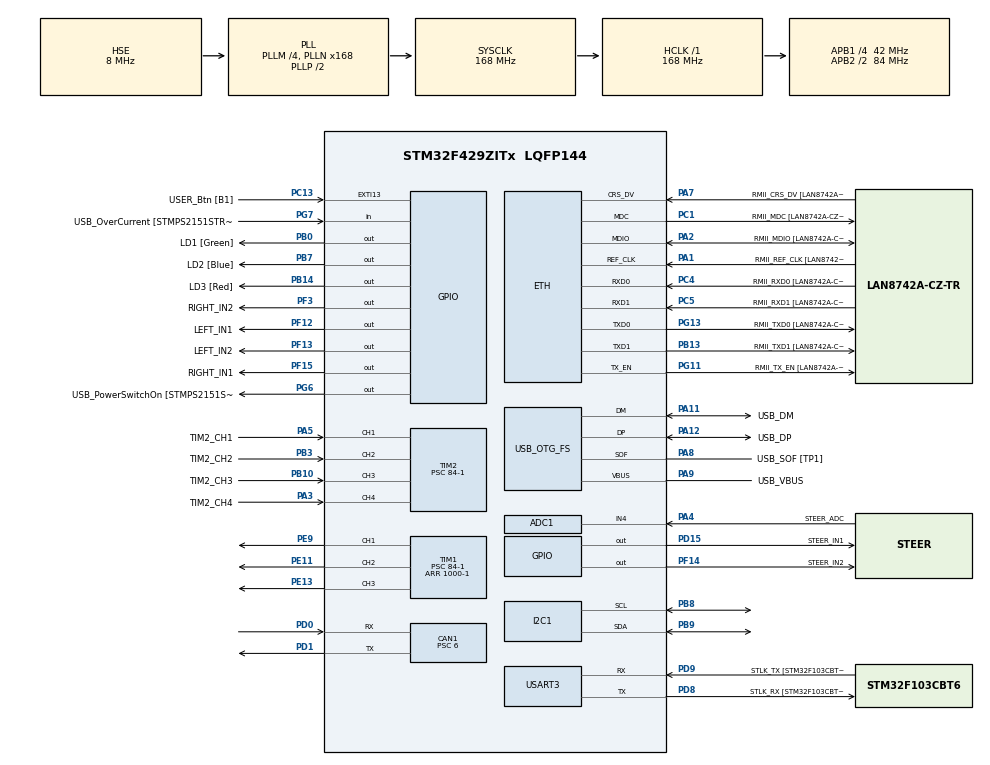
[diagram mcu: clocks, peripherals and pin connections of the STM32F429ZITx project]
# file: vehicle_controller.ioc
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ADC1.Channel-0\#ChannelRegularConversion=ADC_CHANNEL_4
ADC1.NbrOfConversionFlag=1
ADC1.Rank-0\#ChannelRegularConversion=1
ADC1.SamplingTime-0\#ChannelRegularConversion=ADC_SAMPLETIME_3CYCLES
ADC1.master=1
CAN1.BS1=CAN_BS1_11TQ
CAN1.BS2=CAN_BS2_2TQ
CAN1.CalculateBaudRate=500000
CAN1.CalculateTimeBit=2000
CAN1.CalculateTimeQuantum=142.85714285714286
CAN1.Prescaler=6
ETH.MediaInterface=HAL_ETH_RMII_MODE
ETH.PHY_Name=LAN8742A_PHY_ADDRESS
ETH.PHY_Value=0
ETH.PhyAddress=0
FREERTOS.INCLUDE_vTaskDelayUntil=1
FREERTOS.Tasks01=TaskGetRemote,0,128,EntryGetRemote,Default,NULL,Dynamic,NULL,NULL;TaskPrintResult,0,512,EntryPrintResult,Default,NULL,Dynamic,NULL,NULL;TaskGetSteerADC,0,128,EntryGetSteerADC,Default,NULL,Dynamic,NULL,NULL;TaskVehicleCont,0,128,EntryVehicleControl,Default,NULL,Dynamic,NULL,NULL;TaskCANTransmit,0,512,EntryCANTransmit,Default,NULL,Dynamic,NULL,NULL;TaskGetIMU,0,512,EntryGetIMU,Default,NULL,Dynamic,NULL,NULL
FREERTOS.configUSE_COUNTING_SEMAPHORES=1
Mcu.Family=STM32F4
Mcu.Name=STM32F429ZITx
Mcu.Package=LQFP144
NVIC.ADC_IRQn=true\:6\:0\:true\:false\:true\:true\:true\:true\:true
NVIC.CAN1_RX0_IRQn=true\:5\:0\:false\:false\:true\:true\:true\:true\:true
NVIC.I2C1_ER_IRQn=true\:5\:0\:false\:false\:true\:true\:true\:true\:true
NVIC.I2C1_EV_IRQn=true\:5\:0\:false\:false\:true\:true\:true\:true\:true
NVIC.PriorityGroup=NVIC_PRIORITYGROUP_4
NVIC.TIM2_IRQn=true\:5\:0\:false\:false\:true\:true\:true\:true\:true
PA1.GPIO_Label=RMII_REF_CLK [LAN8742A-CZ-TR_REFCLK0]
PA1.Mode=RMII
PA1.Signal=ETH_REF_CLK
PA10.GPIO_Label=USB_ID
PA10.Signal=USB_OTG_FS_ID
PA11.GPIO_Label=USB_DM
PA11.Mode=Device_Only
PA11.Signal=USB_OTG_FS_DM
PA12.GPIO_Label=USB_DP
PA12.Mode=Device_Only
PA12.Signal=USB_OTG_FS_DP
PA13.GPIO_Label=TMS
PA13.Mode=Serial_Wire
PA13.Signal=SYS_JTMS-SWDIO
PA14.GPIO_Label=TCK
PA14.Mode=Serial_Wire
PA14.Signal=SYS_JTCK-SWCLK
PA2.GPIO_Label=RMII_MDIO [LAN8742A-CZ-TR_MDIO]
PA2.Mode=RMII
PA2.Signal=ETH_MDIO
PA3.GPIO_Label=TIM2_CH4
PA3.Signal=S_TIM2_CH4
PA4.GPIO_Label=STEER_ADC
PA4.Signal=ADCx_IN4
PA5.GPIO_Label=TIM2_CH1
PA5.Signal=S_TIM2_CH1_ETR
PA7.GPIO_Label=RMII_CRS_DV [LAN8742A-CZ-TR_CRS_DV]
PA7.Mode=RMII
PA7.Signal=ETH_CRS_DV
PA8.GPIO_Label=USB_SOF [TP1]
PA8.Mode=Activate_SOF_FS
PA8.Signal=USB_OTG_FS_SOF
PA9.GPIO_Label=USB_VBUS
PA9.Mode=Activate_VBUS
PA9.Signal=USB_OTG_FS_VBUS
PB0.GPIO_Label=LD1 [Green]
PB0.Signal=GPIO_Output
PB10.GPIO_Label=TIM2_CH3
PB10.Signal=S_TIM2_CH3
PB13.GPIO_Label=RMII_TXD1 [LAN8742A-CZ-TR_TXD1]
PB13.Mode=RMII
PB13.Signal=ETH_TXD1
PB14.GPIO_Label=LD3 [Red]
PB14.Signal=GPIO_Output
PB3.GPIO_Label=TIM2_CH2
PB3.Signal=S_TIM2_CH2
PB7.GPIO_Label=LD2 [Blue]
PB7.Signal=GPIO_Output
PB8.Mode=I2C
PB8.Signal=I2C1_SCL
PB9.Mode=I2C
PB9.Signal=I2C1_SDA
PC1.GPIO_Label=RMII_MDC [LAN8742A-CZ-TR_MDC]
PC1.Mode=RMII
PC1.Signal=ETH_MDC
PC13.GPIO_Label=USER_Btn [B1]
PC13.Signal=GPXTI13
PC14/OSC32_IN.Mode=LSE-External-Oscillator
PC14/OSC32_IN.Signal=RCC_OSC32_IN
PC15/OSC32_OUT.Mode=LSE-External-Oscillator
PC15/OSC32_OUT.Signal=RCC_OSC32_OUT
PC4.GPIO_Label=RMII_RXD0 [LAN8742A-CZ-TR_RXD0]
PC4.Mode=RMII
PC4.Signal=ETH_RXD0
PC5.GPIO_Label=RMII_RXD1 [LAN8742A-CZ-TR_RXD1]
PC5.Mode=RMII
PC5.Signal=ETH_RXD1
PD0.Mode=CAN_Activate
PD0.Signal=CAN1_RX
PD1.Mode=CAN_Activate
PD1.Signal=CAN1_TX
PD15.GPIO_Label=STEER_IN1
PD15.Signal=GPIO_Output
PD8.GPIO_Label=STLK_RX [STM32F103CBT6_PA3]
PD8.Mode=Asynchronous
PD8.Signal=USART3_TX
PD9.GPIO_Label=STLK_TX [STM32F103CBT6_PA2]
PD9.Mode=Asynchronous
PD9.Signal=USART3_RX
PE11.Signal=S_TIM1_CH2
PE13.Signal=S_TIM1_CH3
PE9.Signal=S_TIM1_CH1
PF12.GPIO_Label=LEFT_IN1
PF12.Signal=GPIO_Output
PF13.GPIO_Label=LEFT_IN2
PF13.Signal=GPIO_Output
PF14.GPIO_Label=STEER_IN2
PF14.Signal=GPIO_Output
PF15.GPIO_Label=RIGHT_IN1
PF15.Signal=GPIO_Output
PF3.GPIO_Label=RIGHT_IN2
PF3.Signal=GPIO_Output
PG11.GPIO_Label=RMII_TX_EN [LAN8742A-CZ-TR_TXEN]
PG11.Mode=RMII
PG11.Signal=ETH_TX_EN
PG13.GPIO_Label=RMII_TXD0 [LAN8742A-CZ-TR_TXD0]
PG13.Mode=RMII
PG13.Signal=ETH_TXD0
PG6.GPIO_Label=USB_PowerSwitchOn [STMPS2151STR_EN]
PG6.Signal=GPIO_Output
PG7.GPIO_Label=USB_OverCurrent [STMPS2151STR_FAULT]
PG7.Signal=GPIO_Input
PH0/OSC_IN.GPIO_Label=MCO [STM32F103CBT6_PA8]
PH0/OSC_IN.Mode=HSE-External-Clock-Source
PH0/OSC_IN.Signal=RCC_OSC_IN
PH1/OSC_OUT.Mode=HSE-External-Clock-Source
PH1/OSC_OUT.Signal=RCC_OSC_OUT
ProjectManager.HeapSize=0x200
ProjectManager.StackSize=0x400
ProjectManager.TargetToolchain=STM32CubeIDE
RCC.48MHZClocksFreq_Value=48000000
RCC.AHBFreq_Value=168000000
RCC.APB1CLKDivider=RCC_HCLK_DIV4
RCC.APB1Freq_Value=42000000
RCC.APB1TimFreq_Value=84000000
RCC.APB2CLKDivider=RCC_HCLK_DIV2
RCC.APB2Freq_Value=84000000
RCC.APB2TimCLKDivider=2
RCC.APB2TimFreq_Value=168000000
RCC.CortexFreq_Value=168000000
RCC.HCLKFreq_Value=168000000
RCC.HSE_VALUE=8000000
RCC.HSI_VALUE=16000000
RCC.PLLM=4
RCC.PLLMUL=RCC_PLL_MUL9
RCC.PLLN=168
RCC.PLLQ=7
RCC.PRESCALERUSB=RCC_USBCLKSOURCE_PLL_DIV1_5
RCC.SYSCLKFreq_VALUE=168000000
RCC.SYSCLKSource=RCC_SYSCLKSOURCE_PLLCLK
RCC.SYSCLKSourceVirtual=RCC_SYSCLKSOURCE_PLLCLK
RCC.USBFreq_Value=48000000
RCC.VCOOutputFreq_Value=336000000
SH.ADCx_IN4.0=ADC1_IN4,IN4
SH.S_TIM1_CH1.0=TIM1_CH1,PWM Generation1 CH1
SH.S_TIM1_CH2.0=TIM1_CH2,PWM Generation2 CH2
SH.S_TIM1_CH3.0=TIM1_CH3,PWM Generation3 CH3
SH.S_TIM2_CH1_ETR.0=TIM2_CH1,Input_Capture1_from_TI1
SH.S_TIM2_CH2.0=TIM2_CH2,Input_Capture2_from_TI2
SH.S_TIM2_CH3.0=TIM2_CH3,Input_Capture3_from_TI3
SH.S_TIM2_CH4.0=TIM2_CH4,Input_Capture4_from_TI4
TIM1.Channel-PWM\ Generation1\ CH1=TIM_CHANNEL_1
TIM1.Channel-PWM\ Generation2\ CH2=TIM_CHANNEL_2
TIM1.Channel-PWM\ Generation3\ CH3=TIM_CHANNEL_3
TIM1.Period=1000-1
TIM1.Prescaler=84-1
TIM2.Channel-Input_Capture1_from_TI1=TIM_CHANNEL_1
TIM2.Channel-Input_Capture2_from_TI2=TIM_CHANNEL_2
TIM2.Channel-Input_Capture3_from_TI3=TIM_CHANNEL_3
TIM2.Channel-Input_Capture4_from_TI4=TIM_CHANNEL_4
TIM2.ICPolarity_CH1=TIM_INPUTCHANNELPOLARITY_BOTHEDGE
TIM2.ICPolarity_CH2=TIM_INPUTCHANNELPOLARITY_BOTHEDGE
TIM2.ICPolarity_CH3=TIM_INPUTCHANNELPOLARITY_BOTHEDGE
TIM2.ICPolarity_CH4=TIM_INPUTCHANNELPOLARITY_BOTHEDGE
TIM2.Prescaler=84-1
USART3.VirtualMode=VM_ASYNC
USB_OTG_FS.VirtualMode=Device_Only
VP_FREERTOS_VS_CMSIS_V1.Mode=CMSIS_V1
VP_TIM1_VS_ClockSourceINT.Mode=Internal
VP_TIM2_VS_ClockSourceINT.Mode=Internal
board=NUCLEO-F429ZI

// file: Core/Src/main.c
/* USER CODE BEGIN Header */
/**
  ******************************************************************************
  * @file           : main.c
  * @brief          : Main program body
  ******************************************************************************
  * @attention
  *
  * Copyright (c) 2025 STMicroelectronics.
  * All rights reserved.
  *
  * This software is licensed under terms that can be found in the LICENSE file
  * in the root directory of this software component.
  * If no LICENSE file comes with this software, it is provided AS-IS.
  *
  ******************************************************************************
  */
/* USER CODE END Header */
#include "main.h"
#include "string.h"
#include "cmsis_os.h"

/* USER CODE BEGIN Includes */
#include "struct_shared_memory.h"
#include "remote_signal_processing.h"
#include "steer_adc_processing.h"
#include "vehicle_control.h"
#include "CAN_DB_Interface.h"
#include "myahrs_i2c.h"
/* USER CODE END Includes */

ETH_TxPacketConfig TxConfig;
ETH_DMADescTypeDef  DMARxDscrTab[ETH_RX_DESC_CNT]; /* Ethernet Rx DMA Descriptors */
ETH_DMADescTypeDef  DMATxDscrTab[ETH_TX_DESC_CNT]; /* Ethernet Tx DMA Descriptors */

ADC_HandleTypeDef hadc1;

CAN_HandleTypeDef hcan1;

ETH_HandleTypeDef heth;

I2C_HandleTypeDef hi2c1;

TIM_HandleTypeDef htim1;
TIM_HandleTypeDef htim2;

UART_HandleTypeDef huart3;

PCD_HandleTypeDef hpcd_USB_OTG_FS;

osThreadId TaskGetRemoteHandle;
osThreadId TaskPrintResultHandle;
osThreadId TaskGetSteerADCHandle;
osThreadId TaskVehicleContHandle;
osThreadId TaskCANTransmitHandle;
osThreadId TaskGetIMUHandle;
/* USER CODE BEGIN PV */
osMutexId vehicleDataMutexHandle;
EventGroupHandle_t eventGroupHandle; // FreeRTOS Event Group

// Shared Memory
SharedMemory_t vehicle_data_shm_;

/* USER CODE END PV */

void SystemClock_Config(void);
static void MX_GPIO_Init(void);
static void MX_ETH_Init(void);
static void MX_USART3_UART_Init(void);
static void MX_USB_OTG_FS_PCD_Init(void);
static void MX_TIM2_Init(void);
static void MX_TIM1_Init(void);
static void MX_ADC1_Init(void);
static void MX_CAN1_Init(void);
static void MX_I2C1_Init(void);
void EntryGetRemote(void const * argument);
void EntryPrintResult(void const * argument);
void EntryGetSteerADC(void const * argument);
void EntryVehicleControl(void const * argument);
void EntryCANTransmit(void const * argument);
void EntryGetIMU(void const * argument);

/* USER CODE BEGIN PFP */
void I2C_Bus_Recovery();
void CAN_Transmit_Safe(CAN_HandleTypeDef *hcan, CAN_TxHeaderTypeDef *pHeader,
                       uint8_t aData[], uint32_t *pTxMailbox);

/* USER CODE END PFP */

int main(void)
{

  /* MCU Configuration--------------------------------------------------------*/

  /* Reset of all peripherals, Initializes the Flash interface and the Systick. */
  HAL_Init();

  /* Configure the system clock */
  SystemClock_Config();

  /* USER CODE BEGIN SysInit */
  I2C_Bus_Recovery();
  /* USER CODE END SysInit */

  /* Initialize all configured peripherals */
  MX_GPIO_Init();
  MX_ETH_Init();
  MX_USART3_UART_Init();
  MX_USB_OTG_FS_PCD_Init();
  MX_TIM2_Init();
  MX_TIM1_Init();
  MX_ADC1_Init();
  MX_CAN1_Init();
  MX_I2C1_Init();

  /* USER CODE BEGIN RTOS_MUTEX */
  /* add mutexes, ... */
  osMutexDef(vehicleDataMutex);
  vehicleDataMutexHandle = osMutexCreate(osMutex(vehicleDataMutex));
  /* USER CODE END RTOS_MUTEX */

  /* USER CODE BEGIN RTOS_SEMAPHORES */
  /* add semaphores, ... */

  // from remote_signal_processing.h
  osSemaphoreDef(remoteSigSem);
  remote_sig_sem_handle_ = osSemaphoreCreate(osSemaphore(remoteSigSem), 1);

  // from steer_adc_processing.h
  osSemaphoreDef(steerAdcSem);
  steer_adc_sem_handle_ = osSemaphoreCreate(osSemaphore(steerAdcSem), 1);

  // from myahrs_i2c.h
  osSemaphoreDef(imuDataSem);
  imu_data_sem_handle_ = osSemaphoreCreate(osSemaphore(imuDataSem), 1);

  // Create Event Group
  eventGroupHandle = xEventGroupCreate();

  /* USER CODE END RTOS_SEMAPHORES */

  /* Create the thread(s) */
  /* definition and creation of TaskGetRemote */
  osThreadDef(TaskGetRemote, EntryGetRemote, osPriorityNormal, 0, 128);
  TaskGetRemoteHandle = osThreadCreate(osThread(TaskGetRemote), NULL);

  /* definition and creation of TaskPrintResult */
  osThreadDef(TaskPrintResult, EntryPrintResult, osPriorityNormal, 0, 512);
  TaskPrintResultHandle = osThreadCreate(osThread(TaskPrintResult), NULL);

  /* definition and creation of TaskGetSteerADC */
  osThreadDef(TaskGetSteerADC, EntryGetSteerADC, osPriorityNormal, 0, 128);
  TaskGetSteerADCHandle = osThreadCreate(osThread(TaskGetSteerADC), NULL);

  /* definition and creation of TaskVehicleCont */
  osThreadDef(TaskVehicleCont, EntryVehicleControl, osPriorityNormal, 0, 128);
  TaskVehicleContHandle = osThreadCreate(osThread(TaskVehicleCont), NULL);

  /* definition and creation of TaskCANTransmit */
  osThreadDef(TaskCANTransmit, EntryCANTransmit, osPriorityNormal, 0, 512);
  TaskCANTransmitHandle = osThreadCreate(osThread(TaskCANTransmit), NULL);

  /* definition and creation of TaskGetIMU */
  osThreadDef(TaskGetIMU, EntryGetIMU, osPriorityNormal, 0, 512);
  TaskGetIMUHandle = osThreadCreate(osThread(TaskGetIMU), NULL);

  /* Start scheduler */
  osKernelStart();

  /* We should never get here as control is now taken by the scheduler */

  /* Infinite loop */
  while (1)
  {

  }
}

void SystemClock_Config(void)
{
  RCC_OscInitTypeDef RCC_OscInitStruct = {0};
  RCC_ClkInitTypeDef RCC_ClkInitStruct = {0};

  /** Configure the main internal regulator output voltage
  */
  __HAL_RCC_PWR_CLK_ENABLE();
  __HAL_PWR_VOLTAGESCALING_CONFIG(PWR_REGULATOR_VOLTAGE_SCALE1);

  /** Initializes the RCC Oscillators according to the specified parameters
  * in the RCC_OscInitTypeDef structure.
  */
  RCC_OscInitStruct.OscillatorType = RCC_OSCILLATORTYPE_HSE;
  RCC_OscInitStruct.HSEState = RCC_HSE_BYPASS;
  RCC_OscInitStruct.PLL.PLLState = RCC_PLL_ON;
  RCC_OscInitStruct.PLL.PLLSource = RCC_PLLSOURCE_HSE;
  RCC_OscInitStruct.PLL.PLLM = 4;
  RCC_OscInitStruct.PLL.PLLN = 168;
  RCC_OscInitStruct.PLL.PLLP = RCC_PLLP_DIV2;
  RCC_OscInitStruct.PLL.PLLQ = 7;
  if (HAL_RCC_OscConfig(&RCC_OscInitStruct) != HAL_OK)
  {
    Error_Handler();
  }

  /** Initializes the CPU, AHB and APB buses clocks
  */
  RCC_ClkInitStruct.ClockType = RCC_CLOCKTYPE_HCLK|RCC_CLOCKTYPE_SYSCLK
                              |RCC_CLOCKTYPE_PCLK1|RCC_CLOCKTYPE_PCLK2;
  RCC_ClkInitStruct.SYSCLKSource = RCC_SYSCLKSOURCE_PLLCLK;
  RCC_ClkInitStruct.AHBCLKDivider = RCC_SYSCLK_DIV1;
  RCC_ClkInitStruct.APB1CLKDivider = RCC_HCLK_DIV4;
  RCC_ClkInitStruct.APB2CLKDivider = RCC_HCLK_DIV2;

  if (HAL_RCC_ClockConfig(&RCC_ClkInitStruct, FLASH_LATENCY_5) != HAL_OK)
  {
    Error_Handler();
  }
}

static void MX_ADC1_Init(void)
{

  ADC_ChannelConfTypeDef sConfig = {0};

  /** Configure the global features of the ADC (Clock, Resolution, Data Alignment and number of conversion)
  */
  hadc1.Instance = ADC1;
  hadc1.Init.ClockPrescaler = ADC_CLOCK_SYNC_PCLK_DIV4;
  hadc1.Init.Resolution = ADC_RESOLUTION_12B;
  hadc1.Init.ScanConvMode = DISABLE;
  hadc1.Init.ContinuousConvMode = DISABLE;
  hadc1.Init.DiscontinuousConvMode = DISABLE;
  hadc1.Init.ExternalTrigConvEdge = ADC_EXTERNALTRIGCONVEDGE_NONE;
  hadc1.Init.ExternalTrigConv = ADC_SOFTWARE_START;
  hadc1.Init.DataAlign = ADC_DATAALIGN_RIGHT;
  hadc1.Init.NbrOfConversion = 1;
  hadc1.Init.DMAContinuousRequests = DISABLE;
  hadc1.Init.EOCSelection = ADC_EOC_SINGLE_CONV;
  if (HAL_ADC_Init(&hadc1) != HAL_OK)
  {
    Error_Handler();
  }

  /** Configure for the selected ADC regular channel its corresponding rank in the sequencer and its sample time.
  */
  sConfig.Channel = ADC_CHANNEL_4;
  sConfig.Rank = 1;
  sConfig.SamplingTime = ADC_SAMPLETIME_3CYCLES;
  if (HAL_ADC_ConfigChannel(&hadc1, &sConfig) != HAL_OK)
  {
    Error_Handler();
  }

}

static void MX_CAN1_Init(void)
{

  hcan1.Instance = CAN1;
  hcan1.Init.Prescaler = 6;
  hcan1.Init.Mode = CAN_MODE_NORMAL;
  hcan1.Init.SyncJumpWidth = CAN_SJW_1TQ;
  hcan1.Init.TimeSeg1 = CAN_BS1_11TQ;
  hcan1.Init.TimeSeg2 = CAN_BS2_2TQ;
  hcan1.Init.TimeTriggeredMode = DISABLE;
  hcan1.Init.AutoBusOff = DISABLE;
  hcan1.Init.AutoWakeUp = DISABLE;
  hcan1.Init.AutoRetransmission = DISABLE;
  hcan1.Init.ReceiveFifoLocked = DISABLE;
  hcan1.Init.TransmitFifoPriority = DISABLE;
  if (HAL_CAN_Init(&hcan1) != HAL_OK)
  {
    Error_Handler();
  }

}

static void MX_ETH_Init(void)
{

   static uint8_t MACAddr[6];

  heth.Instance = ETH;
  MACAddr[0] = 0x00;
  MACAddr[1] = 0x80;
  MACAddr[2] = 0xE1;
  MACAddr[3] = 0x00;
  MACAddr[4] = 0x00;
  MACAddr[5] = 0x00;
  heth.Init.MACAddr = &MACAddr[0];
  heth.Init.MediaInterface = HAL_ETH_RMII_MODE;
  heth.Init.TxDesc = DMATxDscrTab;
  heth.Init.RxDesc = DMARxDscrTab;
  heth.Init.RxBuffLen = 1524;

  if (HAL_ETH_Init(&heth) != HAL_OK)
  {
    Error_Handler();
  }

  memset(&TxConfig, 0 , sizeof(ETH_TxPacketConfig));
  TxConfig.Attributes = ETH_TX_PACKETS_FEATURES_CSUM | ETH_TX_PACKETS_FEATURES_CRCPAD;
  TxConfig.ChecksumCtrl = ETH_CHECKSUM_IPHDR_PAYLOAD_INSERT_PHDR_CALC;
  TxConfig.CRCPadCtrl = ETH_CRC_PAD_INSERT;

}

static void MX_I2C1_Init(void)
{

  hi2c1.Instance = I2C1;
  hi2c1.Init.ClockSpeed = 100000;
  hi2c1.Init.DutyCycle = I2C_DUTYCYCLE_2;
  hi2c1.Init.OwnAddress1 = 0;
  hi2c1.Init.AddressingMode = I2C_ADDRESSINGMODE_7BIT;
  hi2c1.Init.DualAddressMode = I2C_DUALADDRESS_DISABLE;
  hi2c1.Init.OwnAddress2 = 0;
  hi2c1.Init.GeneralCallMode = I2C_GENERALCALL_DISABLE;
  hi2c1.Init.NoStretchMode = I2C_NOSTRETCH_DISABLE;
  if (HAL_I2C_Init(&hi2c1) != HAL_OK)
  {
    Error_Handler();
  }

  /** Configure Analogue filter
  */
  if (HAL_I2CEx_ConfigAnalogFilter(&hi2c1, I2C_ANALOGFILTER_ENABLE) != HAL_OK)
  {
    Error_Handler();
  }

  /** Configure Digital filter
  */
  if (HAL_I2CEx_ConfigDigitalFilter(&hi2c1, 0) != HAL_OK)
  {
    Error_Handler();
  }

}

static void MX_TIM1_Init(void)
{

  TIM_ClockConfigTypeDef sClockSourceConfig = {0};
  TIM_MasterConfigTypeDef sMasterConfig = {0};
  TIM_OC_InitTypeDef sConfigOC = {0};
  TIM_BreakDeadTimeConfigTypeDef sBreakDeadTimeConfig = {0};

  htim1.Instance = TIM1;
  htim1.Init.Prescaler = 84-1;
  htim1.Init.CounterMode = TIM_COUNTERMODE_UP;
  htim1.Init.Period = 1000-1;
  htim1.Init.ClockDivision = TIM_CLOCKDIVISION_DIV1;
  htim1.Init.RepetitionCounter = 0;
  htim1.Init.AutoReloadPreload = TIM_AUTORELOAD_PRELOAD_DISABLE;
  if (HAL_TIM_Base_Init(&htim1) != HAL_OK)
  {
    Error_Handler();
  }
  sClockSourceConfig.ClockSource = TIM_CLOCKSOURCE_INTERNAL;
  if (HAL_TIM_ConfigClockSource(&htim1, &sClockSourceConfig) != HAL_OK)
  {
    Error_Handler();
  }
  if (HAL_TIM_PWM_Init(&htim1) != HAL_OK)
  {
    Error_Handler();
  }
  sMasterConfig.MasterOutputTrigger = TIM_TRGO_RESET;
  sMasterConfig.MasterSlaveMode = TIM_MASTERSLAVEMODE_DISABLE;
  if (HAL_TIMEx_MasterConfigSynchronization(&htim1, &sMasterConfig) != HAL_OK)
  {
    Error_Handler();
  }
  sConfigOC.OCMode = TIM_OCMODE_PWM1;
  sConfigOC.Pulse = 0;
  sConfigOC.OCPolarity = TIM_OCPOLARITY_HIGH;
  sConfigOC.OCNPolarity = TIM_OCNPOLARITY_HIGH;
  sConfigOC.OCFastMode = TIM_OCFAST_DISABLE;
  sConfigOC.OCIdleState = TIM_OCIDLESTATE_RESET;
  sConfigOC.OCNIdleState = TIM_OCNIDLESTATE_RESET;
  if (HAL_TIM_PWM_ConfigChannel(&htim1, &sConfigOC, TIM_CHANNEL_1) != HAL_OK)
  {
    Error_Handler();
  }
  if (HAL_TIM_PWM_ConfigChannel(&htim1, &sConfigOC, TIM_CHANNEL_2) != HAL_OK)
  {
    Error_Handler();
  }
  if (HAL_TIM_PWM_ConfigChannel(&htim1, &sConfigOC, TIM_CHANNEL_3) != HAL_OK)
  {
    Error_Handler();
  }
  sBreakDeadTimeConfig.OffStateRunMode = TIM_OSSR_DISABLE;
  sBreakDeadTimeConfig.OffStateIDLEMode = TIM_OSSI_DISABLE;
  sBreakDeadTimeConfig.LockLevel = TIM_LOCKLEVEL_OFF;
  sBreakDeadTimeConfig.DeadTime = 0;
  sBreakDeadTimeConfig.BreakState = TIM_BREAK_DISABLE;
  sBreakDeadTimeConfig.BreakPolarity = TIM_BREAKPOLARITY_HIGH;
  sBreakDeadTimeConfig.AutomaticOutput = TIM_AUTOMATICOUTPUT_DISABLE;
  if (HAL_TIMEx_ConfigBreakDeadTime(&htim1, &sBreakDeadTimeConfig) != HAL_OK)
  {
    Error_Handler();
  }
  HAL_TIM_MspPostInit(&htim1);

}

static void MX_TIM2_Init(void)
{

  TIM_ClockConfigTypeDef sClockSourceConfig = {0};
  TIM_MasterConfigTypeDef sMasterConfig = {0};
  TIM_IC_InitTypeDef sConfigIC = {0};

  htim2.Instance = TIM2;
  htim2.Init.Prescaler = 84-1;
  htim2.Init.CounterMode = TIM_COUNTERMODE_UP;
  htim2.Init.Period = 4294967295;
  htim2.Init.ClockDivision = TIM_CLOCKDIVISION_DIV1;
  htim2.Init.AutoReloadPreload = TIM_AUTORELOAD_PRELOAD_DISABLE;
  if (HAL_TIM_Base_Init(&htim2) != HAL_OK)
  {
    Error_Handler();
  }
  sClockSourceConfig.ClockSource = TIM_CLOCKSOURCE_INTERNAL;
  if (HAL_TIM_ConfigClockSource(&htim2, &sClockSourceConfig) != HAL_OK)
  {
    Error_Handler();
  }
  if (HAL_TIM_IC_Init(&htim2) != HAL_OK)
  {
    Error_Handler();
  }
  sMasterConfig.MasterOutputTrigger = TIM_TRGO_RESET;
  sMasterConfig.MasterSlaveMode = TIM_MASTERSLAVEMODE_DISABLE;
  if (HAL_TIMEx_MasterConfigSynchronization(&htim2, &sMasterConfig) != HAL_OK)
  {
    Error_Handler();
  }
  sConfigIC.ICPolarity = TIM_INPUTCHANNELPOLARITY_BOTHEDGE;
  sConfigIC.ICSelection = TIM_ICSELECTION_DIRECTTI;
  sConfigIC.ICPrescaler = TIM_ICPSC_DIV1;
  sConfigIC.ICFilter = 0;
  if (HAL_TIM_IC_ConfigChannel(&htim2, &sConfigIC, TIM_CHANNEL_1) != HAL_OK)
  {
    Error_Handler();
  }
  if (HAL_TIM_IC_ConfigChannel(&htim2, &sConfigIC, TIM_CHANNEL_2) != HAL_OK)
  {
    Error_Handler();
  }
  if (HAL_TIM_IC_ConfigChannel(&htim2, &sConfigIC, TIM_CHANNEL_3) != HAL_OK)
  {
    Error_Handler();
  }
  if (HAL_TIM_IC_ConfigChannel(&htim2, &sConfigIC, TIM_CHANNEL_4) != HAL_OK)
  {
    Error_Handler();
  }

}

static void MX_USART3_UART_Init(void)
{

  huart3.Instance = USART3;
  huart3.Init.BaudRate = 115200;
  huart3.Init.WordLength = UART_WORDLENGTH_8B;
  huart3.Init.StopBits = UART_STOPBITS_1;
  huart3.Init.Parity = UART_PARITY_NONE;
  huart3.Init.Mode = UART_MODE_TX_RX;
  huart3.Init.HwFlowCtl = UART_HWCONTROL_NONE;
  huart3.Init.OverSampling = UART_OVERSAMPLING_16;
  if (HAL_UART_Init(&huart3) != HAL_OK)
  {
    Error_Handler();
  }

}

static void MX_USB_OTG_FS_PCD_Init(void)
{

  hpcd_USB_OTG_FS.Instance = USB_OTG_FS;
  hpcd_USB_OTG_FS.Init.dev_endpoints = 4;
  hpcd_USB_OTG_FS.Init.speed = PCD_SPEED_FULL;
  hpcd_USB_OTG_FS.Init.dma_enable = DISABLE;
  hpcd_USB_OTG_FS.Init.phy_itface = PCD_PHY_EMBEDDED;
  hpcd_USB_OTG_FS.Init.Sof_enable = ENABLE;
  hpcd_USB_OTG_FS.Init.low_power_enable = DISABLE;
  hpcd_USB_OTG_FS.Init.lpm_enable = DISABLE;
  hpcd_USB_OTG_FS.Init.vbus_sensing_enable = ENABLE;
  hpcd_USB_OTG_FS.Init.use_dedicated_ep1 = DISABLE;
  if (HAL_PCD_Init(&hpcd_USB_OTG_FS) != HAL_OK)
  {
    Error_Handler();
  }

}

static void MX_GPIO_Init(void)
{
  GPIO_InitTypeDef GPIO_InitStruct = {0};

  /* GPIO Ports Clock Enable */
  __HAL_RCC_GPIOC_CLK_ENABLE();
  __HAL_RCC_GPIOF_CLK_ENABLE();
  __HAL_RCC_GPIOH_CLK_ENABLE();
  __HAL_RCC_GPIOA_CLK_ENABLE();
  __HAL_RCC_GPIOB_CLK_ENABLE();
  __HAL_RCC_GPIOE_CLK_ENABLE();
  __HAL_RCC_GPIOD_CLK_ENABLE();
  __HAL_RCC_GPIOG_CLK_ENABLE();

  /*Configure GPIO pin Output Level */
  HAL_GPIO_WritePin(GPIOF, RIGHT_IN2_Pin|LEFT_IN1_Pin|LEFT_IN2_Pin|STEER_IN2_Pin
                          |RIGHT_IN1_Pin, GPIO_PIN_RESET);

  /*Configure GPIO pin Output Level */
  HAL_GPIO_WritePin(GPIOB, LD1_Pin|LD3_Pin|LD2_Pin, GPIO_PIN_RESET);

  /*Configure GPIO pin Output Level */
  HAL_GPIO_WritePin(STEER_IN1_GPIO_Port, STEER_IN1_Pin, GPIO_PIN_RESET);

  /*Configure GPIO pin Output Level */
  HAL_GPIO_WritePin(USB_PowerSwitchOn_GPIO_Port, USB_PowerSwitchOn_Pin, GPIO_PIN_RESET);

  /*Configure GPIO pin : USER_Btn_Pin */
  GPIO_InitStruct.Pin = USER_Btn_Pin;
  GPIO_InitStruct.Mode = GPIO_MODE_IT_RISING;
  GPIO_InitStruct.Pull = GPIO_NOPULL;
  HAL_GPIO_Init(USER_Btn_GPIO_Port, &GPIO_InitStruct);

  /*Configure GPIO pins : RIGHT_IN2_Pin LEFT_IN1_Pin LEFT_IN2_Pin STEER_IN2_Pin
                           RIGHT_IN1_Pin */
  GPIO_InitStruct.Pin = RIGHT_IN2_Pin|LEFT_IN1_Pin|LEFT_IN2_Pin|STEER_IN2_Pin
                          |RIGHT_IN1_Pin;
  GPIO_InitStruct.Mode = GPIO_MODE_OUTPUT_PP;
  GPIO_InitStruct.Pull = GPIO_NOPULL;
  GPIO_InitStruct.Speed = GPIO_SPEED_FREQ_LOW;
  HAL_GPIO_Init(GPIOF, &GPIO_InitStruct);

  /*Configure GPIO pins : LD1_Pin LD3_Pin LD2_Pin */
  GPIO_InitStruct.Pin = LD1_Pin|LD3_Pin|LD2_Pin;
  GPIO_InitStruct.Mode = GPIO_MODE_OUTPUT_PP;
  GPIO_InitStruct.Pull = GPIO_NOPULL;
  GPIO_InitStruct.Speed = GPIO_SPEED_FREQ_LOW;
  HAL_GPIO_Init(GPIOB, &GPIO_InitStruct);

  /*Configure GPIO pin : STEER_IN1_Pin */
  GPIO_InitStruct.Pin = STEER_IN1_Pin;
  GPIO_InitStruct.Mode = GPIO_MODE_OUTPUT_PP;
  GPIO_InitStruct.Pull = GPIO_NOPULL;
  GPIO_InitStruct.Speed = GPIO_SPEED_FREQ_LOW;
  HAL_GPIO_Init(STEER_IN1_GPIO_Port, &GPIO_InitStruct);

  /*Configure GPIO pin : USB_PowerSwitchOn_Pin */
  GPIO_InitStruct.Pin = USB_PowerSwitchOn_Pin;
  GPIO_InitStruct.Mode = GPIO_MODE_OUTPUT_PP;
  GPIO_InitStruct.Pull = GPIO_NOPULL;
  GPIO_InitStruct.Speed = GPIO_SPEED_FREQ_LOW;
  HAL_GPIO_Init(USB_PowerSwitchOn_GPIO_Port, &GPIO_InitStruct);

  /*Configure GPIO pin : USB_OverCurrent_Pin */
  GPIO_InitStruct.Pin = USB_OverCurrent_Pin;
  GPIO_InitStruct.Mode = GPIO_MODE_INPUT;
  GPIO_InitStruct.Pull = GPIO_NOPULL;
  HAL_GPIO_Init(USB_OverCurrent_GPIO_Port, &GPIO_InitStruct);

}

/* USER CODE BEGIN 4 */

void I2C_Bus_Recovery() {
  // Setting SCL & SDA to open-drain mode
  GPIO_InitTypeDef GPIO_InitStruct = {0};
  __HAL_RCC_GPIOB_CLK_ENABLE();

  GPIO_InitStruct.Pin = GPIO_PIN_8 | GPIO_PIN_9;
  GPIO_InitStruct.Mode = GPIO_MODE_OUTPUT_OD;
  GPIO_InitStruct.Pull = GPIO_NOPULL;
  GPIO_InitStruct.Speed = GPIO_SPEED_FREQ_HIGH;
  HAL_GPIO_Init(GPIOB, &GPIO_InitStruct);

  // Set SDA to High
  HAL_GPIO_WritePin(GPIOB, GPIO_PIN_9, GPIO_PIN_SET);

  // Toggle SCL 9 times (High->Low->High...)
  for(int i=0; i<10; i++) {
      HAL_GPIO_WritePin(GPIOB, GPIO_PIN_8, GPIO_PIN_RESET); // Low
      HAL_Delay(1); // slight delay
      HAL_GPIO_WritePin(GPIOB, GPIO_PIN_8, GPIO_PIN_SET);   // High
      HAL_Delay(1);
  }

  // Generate Stop Condition (SCL High, SDA Low->High)
  HAL_GPIO_WritePin(GPIOB, GPIO_PIN_8, GPIO_PIN_SET);
  HAL_GPIO_WritePin(GPIOB, GPIO_PIN_9, GPIO_PIN_RESET);
  HAL_Delay(1);
  HAL_GPIO_WritePin(GPIOB, GPIO_PIN_9, GPIO_PIN_SET);
  // After this function, the pin settings will be restored to I2C
}

void CAN_Transmit_Safe(CAN_HandleTypeDef *hcan, CAN_TxHeaderTypeDef *pHeader, uint8_t aData[], uint32_t *pTxMailbox) {
  uint32_t start = HAL_GetTick();

  // if all mailboxes are full, wait
  while (HAL_CAN_GetTxMailboxesFreeLevel(hcan) == 0) {
      // timeout 10ms (to avoid deadlock)
      if ((HAL_GetTick() - start) > 10) {
          return;
      }
  }
  // there is empty mailbox, transmit
  HAL_CAN_AddTxMessage(hcan, pHeader, aData, pTxMailbox);
}

/* USER CODE END 4 */

void EntryGetRemote(void const * argument)
{
  /* USER CODE BEGIN 5 */
  HAL_TIM_IC_Start_IT(&htim2, TIM_CHANNEL_1);
  HAL_TIM_IC_Start_IT(&htim2, TIM_CHANNEL_2);
  HAL_TIM_IC_Start_IT(&htim2, TIM_CHANNEL_3);
  HAL_TIM_IC_Start_IT(&htim2, TIM_CHANNEL_4);

  RemoteSignals_t remote_signals;

  /* Infinite loop */
  for(;;) {
    remote_signals = GetRemoteSignals(); // This function waits for semaphore

    osMutexWait(vehicleDataMutexHandle, osWaitForever);
    vehicle_data_shm_.remote = remote_signals;
    osMutexRelease(vehicleDataMutexHandle);

    if (eventGroupHandle != NULL) {
        xEventGroupSetBits(eventGroupHandle, EVT_REMOTE_UPDATED_FOR_LOG);
        xEventGroupSetBits(eventGroupHandle, EVT_REMOTE_UPDATED_FOR_CAN);
    }
  }
  /* USER CODE END 5 */
}

void EntryPrintResult(void const * argument)
{
  /* USER CODE BEGIN EntryPrintResult */
  SharedMemory_t print_data;
  char str[100];
  EventBits_t event_bits;

  /* Infinite loop */
  for(;;) {
    event_bits = xEventGroupWaitBits(
      eventGroupHandle,
      EVT_ALL_UPDATED_FOR_LOG, // uxBitsToWaitFor
      pdTRUE,          // xClearOnExit:    Clear bits on exit (Auto-Reset)
      pdFALSE,         // xWaitForAllBits: Wait for ANY bit (OR logic)
      osWaitForever    // xBlockTime:      Block until event happens
    );

    // copy shared memory to local variable
    osMutexWait(vehicleDataMutexHandle, osWaitForever);
    print_data = vehicle_data_shm_;
    osMutexRelease(vehicleDataMutexHandle);

    // print remote signals
    int str_len = 0;
    if (event_bits & EVT_REMOTE_UPDATED_FOR_LOG) {
      str_len = snprintf(str, sizeof(str), "RC: %lu %lu %lu %lu\r\n",
                        print_data.remote.steering_pulse_width_us,
                        print_data.remote.throttle_pulse_width_us,
                        print_data.remote.mode_pulse_width_us,
                        print_data.remote.toggle_pulse_width_us);
      HAL_UART_Transmit(&huart3, (uint8_t*)str, str_len, 100);
    }

    if (event_bits & EVT_STEER_ADC_UPDATED_FOR_LOG) {
      str_len = snprintf(str, sizeof(str), "ADC: %d\r\n", print_data.steer_adc);
      HAL_UART_Transmit(&huart3, (uint8_t*)str, str_len, 100);
    }

    if (event_bits & EVT_VEHICLE_COMMAND_UPDATED_FOR_LOG) {
      str_len = snprintf(str, sizeof(str), "CMD: %f %f %f[deg] %lu\r\n",
                        print_data.vehicle_command.throttle,
                        print_data.vehicle_command.brake,
                        print_data.vehicle_command.steer_tire_degree,
                        print_data.vehicle_command.steer_adc);
      HAL_UART_Transmit(&huart3, (uint8_t*)str, str_len, 100);
    }

    if (event_bits & EVT_IMU_DATA_UPDATED_FOR_LOG) {
      str_len = snprintf(str, sizeof(str), "IMU: %.2f[m/s2] %.2f[m/s2] %.2f[m/s2]\r\n",
                        print_data.imu_data.acc_x_mps2,
                        print_data.imu_data.acc_y_mps2,
                        print_data.imu_data.acc_z_mps2);
      HAL_UART_Transmit(&huart3, (uint8_t*)str, str_len, 100);
    }

    if (event_bits & EVT_BAD_THING_HAPPENED) {
      str_len = snprintf(str, sizeof(str), "BAD THING HAPPENED\r\n");
      HAL_UART_Transmit(&huart3, (uint8_t*)str, str_len, 100);
    }

    osDelay(100);
  }
  /* USER CODE END EntryPrintResult */
}

void EntryGetSteerADC(void const * argument)
{
  /* USER CODE BEGIN EntryGetSteerADC */
  // HAL_ADC_Start_IT(&hadc1);

  uint32_t steer_adc_value;

  /* Infinite loop */
  for(;;) {
    steer_adc_value = GetSteerADCValue();   // This function waits for semaphore

    osMutexWait(vehicleDataMutexHandle, osWaitForever);
    vehicle_data_shm_.steer_adc = steer_adc_value;
    osMutexRelease(vehicleDataMutexHandle);

    if (eventGroupHandle != NULL) {
        xEventGroupSetBits(eventGroupHandle, EVT_STEER_ADC_UPDATED_FOR_LOG);
        xEventGroupSetBits(eventGroupHandle, EVT_STEER_ADC_UPDATED_FOR_CAN);
    }
    osDelay(10); // Prevent CPU hogging
  }
  /* USER CODE END EntryGetSteerADC */
}

void EntryVehicleControl(void const * argument)
{
  /* USER CODE BEGIN EntryVehicleControl */
  HAL_TIM_PWM_Start(&htim1, TIM_CHANNEL_1);
  HAL_TIM_PWM_Start(&htim1, TIM_CHANNEL_2);
  HAL_TIM_PWM_Start(&htim1, TIM_CHANNEL_3);

  uint32_t arr = __HAL_TIM_GET_AUTORELOAD(&htim1);      // arr is fixed value

  SharedMemory_t vehicle_data;

  /* Infinite loop */
  for(;;) {
    osMutexWait(vehicleDataMutexHandle, osWaitForever);
    vehicle_data = vehicle_data_shm_;
    osMutexRelease(vehicleDataMutexHandle);

    VehicleCommand_t command = PulseToVehicleCommand(vehicle_data.remote);

    if (command.mode == MANUAL_MODE) {
      if (command.throttle >= 0.5) {
        MoveForward(command.throttle, arr);
      } else if (command.brake >= 0.5) {
        MoveBackward(command.brake, arr);
      } else {
        StopRearWheels();
      }

      MoveSteer(command.steer_adc, vehicle_data.steer_adc, arr);
    }

    else if (command.mode == AUTO_MODE) {
        StopRearWheels();       // need to fix (or another task)
        StopSteer();
    }

    else if (command.mode == BRAKE_MODE || command.mode == ERROR_MODE) {
        StopRearWheels();
        StopSteer();
    }

    osMutexWait(vehicleDataMutexHandle, osWaitForever);
    vehicle_data_shm_.vehicle_command = command;
    osMutexRelease(vehicleDataMutexHandle);

    if (eventGroupHandle != NULL) {
        xEventGroupSetBits(eventGroupHandle, EVT_VEHICLE_COMMAND_UPDATED_FOR_LOG);
        xEventGroupSetBits(eventGroupHandle, EVT_VEHICLE_COMMAND_UPDATED_FOR_CAN);
    }
    osDelay(10);   // 100 Hz
  }
  /* USER CODE END EntryVehicleControl */
}

void EntryCANTransmit(void const * argument)
{
  /* USER CODE BEGIN EntryCANTransmit */
  uint32_t txmailbox;
  CAN_TxHeaderTypeDef txheader;
  txheader.IDE = CAN_ID_STD;
  txheader.RTR = CAN_RTR_DATA;
  txheader.DLC = 8;
  txheader.TransmitGlobalTime = DISABLE;

  HAL_CAN_Start(&hcan1);
  HAL_CAN_ActivateNotification(&hcan1, CAN_IT_RX_FIFO0_MSG_PENDING);

  EventBits_t event_bits;
  SharedMemory_t vehicle_data;
  VehicleCANFrame_t vehicle_can_dataframe;

  /* Infinite loop */
  for(;;) {
    event_bits = xEventGroupWaitBits(
      eventGroupHandle,
      EVT_ALL_UPDATED_FOR_CAN, // uxBitsToWaitFor
      pdTRUE,          // xClearOnExit:    Clear bits on exit (Auto-Reset)
      pdFALSE,         // xWaitForAllBits: Wait for ANY bit (OR logic)
      osWaitForever    // xBlockTime:      Block until event happens
    );

    osMutexWait(vehicleDataMutexHandle, osWaitForever);
    vehicle_data = vehicle_data_shm_;
    osMutexRelease(vehicleDataMutexHandle);

    if (event_bits & EVT_REMOTE_UPDATED_FOR_CAN) {
      txheader.StdId = CANID_REMOTE_SIGNALS;
      SetRemoteSignalsCANFrame(&vehicle_can_dataframe, vehicle_data);
      CAN_Transmit_Safe(&hcan1, &txheader, vehicle_can_dataframe.data, &txmailbox);
    }

    if (event_bits & EVT_STEER_ADC_UPDATED_FOR_CAN) {
      txheader.StdId = CANID_STEER_ADC;
      SetSteerADCCANFrame(&vehicle_can_dataframe, vehicle_data);
      CAN_Transmit_Safe(&hcan1, &txheader, vehicle_can_dataframe.data, &txmailbox);
    }

    if (event_bits & EVT_VEHICLE_COMMAND_UPDATED_FOR_CAN) {
      txheader.StdId = CANID_VEHICLE_COMMAND1;
      SetVehicleCommand1CANFrame(&vehicle_can_dataframe, vehicle_data);
      CAN_Transmit_Safe(&hcan1, &txheader, vehicle_can_dataframe.data, &txmailbox);

      txheader.StdId = CANID_VEHICLE_COMMAND2;
      SetVehicleCommand2CANFrame(&vehicle_can_dataframe, vehicle_data);
      CAN_Transmit_Safe(&hcan1, &txheader, vehicle_can_dataframe.data, &txmailbox);
    }

    if (event_bits & EVT_IMU_DATA_UPDATED_FOR_CAN) {
      txheader.StdId = CANID_IMU_DATA1;
      SetIMUData1CANFrame(&vehicle_can_dataframe, vehicle_data);
      CAN_Transmit_Safe(&hcan1, &txheader, vehicle_can_dataframe.data, &txmailbox);

      txheader.StdId = CANID_IMU_DATA2;
      SetIMUData2CANFrame(&vehicle_can_dataframe, vehicle_data);
      CAN_Transmit_Safe(&hcan1, &txheader, vehicle_can_dataframe.data, &txmailbox);

      txheader.StdId = CANID_IMU_DATA3;
      SetIMUData3CANFrame(&vehicle_can_dataframe, vehicle_data);
      CAN_Transmit_Safe(&hcan1, &txheader, vehicle_can_dataframe.data, &txmailbox);
    }

    HAL_GPIO_TogglePin(LD2_GPIO_Port, LD2_Pin);
    osDelay(10);
  }
  /* USER CODE END EntryCANTransmit */
}

void EntryGetIMU(void const * argument)
{
  /* USER CODE BEGIN EntryGetIMU */
  osDelay(500);

  uint8_t who_am_i = 0;
  char uart_buf[100];
  if (HAL_I2C_Mem_Read(&hi2c1, MYAHRS_I2C_ADDR, REG_WHO_AM_I,
                        I2C_MEMADD_SIZE_8BIT, &who_am_i, 1, 100) != HAL_OK) {
    int len = snprintf(uart_buf, sizeof(uart_buf), "myAHRS+ Found! ID: 0x%02X\r\n", who_am_i);
    HAL_UART_Transmit(&huart3, (uint8_t*)uart_buf, len, 100);
  } else {
    char* msg = "myAHRS+ NOT Found!\r\n";
    HAL_UART_Transmit(&huart3, (uint8_t*)msg, strlen(msg), 100);
    HAL_GPIO_WritePin(LD3_GPIO_Port, LD3_Pin, GPIO_PIN_SET);
  }

  // initial read
  InitIMUData();
  IMUData_t imu_data;

  /* Infinite loop */
  for(;;) {
    imu_data = GetIMUData();  // This function waits for semaphore

    osMutexWait(vehicleDataMutexHandle, osWaitForever);
    vehicle_data_shm_.imu_data = imu_data;
    osMutexRelease(vehicleDataMutexHandle);

    if (eventGroupHandle != NULL) {
      xEventGroupSetBits(eventGroupHandle, EVT_IMU_DATA_UPDATED_FOR_LOG);
      xEventGroupSetBits(eventGroupHandle, EVT_IMU_DATA_UPDATED_FOR_CAN);
    }
  }
  /* USER CODE END EntryGetIMU */
}

void Error_Handler(void)
{
  __disable_irq();
  while (1)
  {
  }
}
